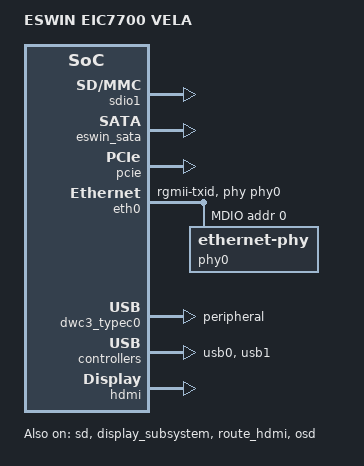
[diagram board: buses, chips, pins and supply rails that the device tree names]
// SPDX-License-Identifier: GPL-2.0
/*
 * Device Tree file for Eswin EIC7700 VELA Board.
 *
 * Copyright 2024, Beijing ESWIN Computing Technology Co., Ltd.. All rights reserved.
 *
 * This program is free software: you can redistribute it and/or modify
 * it under the terms of the GNU General Public License as published by
 * the Free Software Foundation, version 2.
 *
 * This program is distributed in the hope that it will be useful,
 * but WITHOUT ANY WARRANTY; without even the implied warranty of
 * MERCHANTABILITY or FITNESS FOR A PARTICULAR PURPOSE.  See the
 * GNU General Public License for more details.
 *
 * You should have received a copy of the GNU General Public License
 * along with this program.  If not, see <https://www.gnu.org/licenses/>.
 *
 * Authors: Xiang Xu <xuxiang@eswincomputing.com>
 */
#include "eic7700-som260.dtsi"

/ {
	#address-cells = <2>;
	#size-cells = <2>;
	model = "ESWIN EIC7700 VELA";
	compatible = "eswin,eic7700";

	aliases {
		serial0 = &uart0;
		gpio0 = &gpio0;
		spi0 = &bootspi;
		spi1 = &dw_spi0;
	};
};

&sd {
	status = "okay";
	delay_code = <0x3b>;
	drive-impedance-ohm = <33>;
	enable-cmd-pullup;
	enable-data-pullup;
};

&sdio1 {
        status = "okay";
        delay_code = <0x29>;
        drive-impedance-ohm = <33>;
        enable-cmd-pullup;
        enable-data-pullup;
        pinctrl-names = "default";
        pinctrl-0 = <&pinctrl_gpio79_default>;
        rst-gpios = <&portc 15 GPIO_ACTIVE_HIGH>;
};


&eswin_sata {
	status = "okay";
};


&pcie {
	status = "okay";
};

&eth0 {
	status = "okay";
	phy-mode = "rgmii-txid";
	max-speed = <1000>;
	phy-handle = <&phy0>;
	pinctrl-names = "default";
	pinctrl-0 = <&pinctrl_gpio80_default>;
	rst-gpios = <&portc 16 GPIO_ACTIVE_LOW>;
	dly-param-1000m = <0x23232323 0xa0209023 0x20202020>;
	dly-param-100m = <0x50505050 0x803f8050 0x3f3f3f3f>;
	dly-param-10m = <0 0 0>;
	mdio0 {
		#address-cells = <1>;
		#size-cells = <0>;
		phy0: ethernet-phy@1 {
			reg = <0>;
		};
	};
};

&eth1 {
	status = "disabled";
	phy-mode = "rgmii-txid";
	max-speed = <1000>;
	phy-handle = <&phy1>;
	pinctrl-names = "default";
	pinctrl-0 = <&pinctrl_gpio81_default>;
	rst-gpios = <&portc 17 GPIO_ACTIVE_LOW>;
	dly-param-1000m = <0x00000000 0xda02e000 0x02020202>;
	dly-param-100m = <0x48484848 0x80588048 0x58585858>;
	dly-param-10m = <0 0 0>;
	mdio1 {
		#address-cells = <1>;
		#size-cells = <0>;
		phy1: ethernet-phy@1 {
			reg = <0>;
		};
	};
};

&display_logo {
	status = "disabled";
};
&dwc3_typec0 {
		status = "okay";
		dr_mode = "peripheral";
		maximum-speed = "super-speed";
};
&usb0 {
	status = "okay";
};
&usb1 {
	status = "okay";
};
&hdmi {
	status = "okay";
};
&display_subsystem {
	status = "okay";
};
&route_hdmi {
	status = "okay";
};
&osd {
	status = "okay";
};
